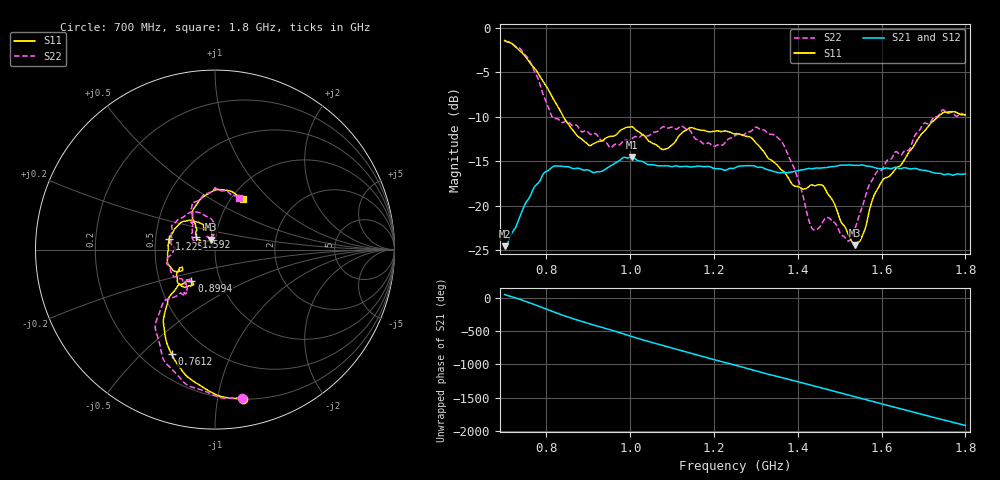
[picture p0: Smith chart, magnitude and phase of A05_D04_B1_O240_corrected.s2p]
! Created with skrf 1.9.0 (http://scikit-rf.org).
# Hz S RI R 50.0
!freq ReS11 ImS11 ReS21 ImS21 ReS12 ImS12 ReS22 ImS22
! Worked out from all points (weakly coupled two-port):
!   1601 points, 700 MHz to 1.8 GHz, reference 50 ohm
!   highest |S21| = -14.55 dB at 1.005 GHz (marker M1); lowest = -24.6 dB at 701.4 MHz (marker M2)
!   lowest |S11| = -24.4 dB at 1.535 GHz (marker M3), VSWR 1.13, Z = 47.3 + j5.2 ohm
!   |S11| at or under -10 dB: 840 MHz to 1.735 GHz (895.3 MHz wide, 69.5 % of centre)
!   |S22| runs from -24.0 to -1.5 dB; largest |S21 - S12| = 0.0034
!   S11 on the Smith chart (normalised r, x): 700 MHz: 0.20, -1.19; 761.2 MHz: 0.32, -0.62; 899.4 MHz: 0.73, -0.27; 1.225 GHz: 0.59, +0.07; 1.592 GHz: 0.80, +0.12; 1.8 GHz: 1.12, +0.72
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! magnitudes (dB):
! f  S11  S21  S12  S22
! 700 MHz  -1.4  -24.6  -24.3  -1.5
! 701.4 MHz  -1.5  -24.6  -24.2  -1.5
! 761.2 MHz  -4.0  -18.9  -18.8  -3.8
! 814.1 MHz  -7.8  -15.6  -15.7  -10.1
! 883.6 MHz  -12.5  -15.9  -15.8  -11.7
! 899.4 MHz  -13.2  -16.0  -16.0  -11.8
! 953 MHz  -12.2  -15.6  -15.5  -13.5
! 1.005 GHz  -11.1  -14.5  -14.7  -12.5
! 1.067 GHz  -13.4  -15.5  -15.5  -11.6
! 1.143 GHz  -11.2  -15.7  -15.6  -11.6
! 1.225 GHz  -11.6  -16.0  -16.0  -13.0
! 1.25 GHz  -11.9  -15.8  -15.7  -12.1
! 1.302 GHz  -13.0  -15.6  -15.6  -11.2
! 1.359 GHz  -15.9  -16.3  -16.3  -12.7
! 1.434 GHz  -17.7  -15.9  -15.8  -22.5
! 1.463 GHz  -17.9  -15.8  -15.7  -21.6
! 1.52 GHz  -23.2  -15.4  -15.4  -24.0
! 1.535 GHz  -24.4  -15.5  -15.5  -22.8
! 1.592 GHz  -18.0  -15.8  -15.8  -16.1
! 1.617 GHz  -16.8  -15.8  -15.8  -14.9
! 1.742 GHz  -9.7  -16.4  -16.4  -9.4
! 1.8 GHz  -9.8  -16.4  -16.4  -9.9
